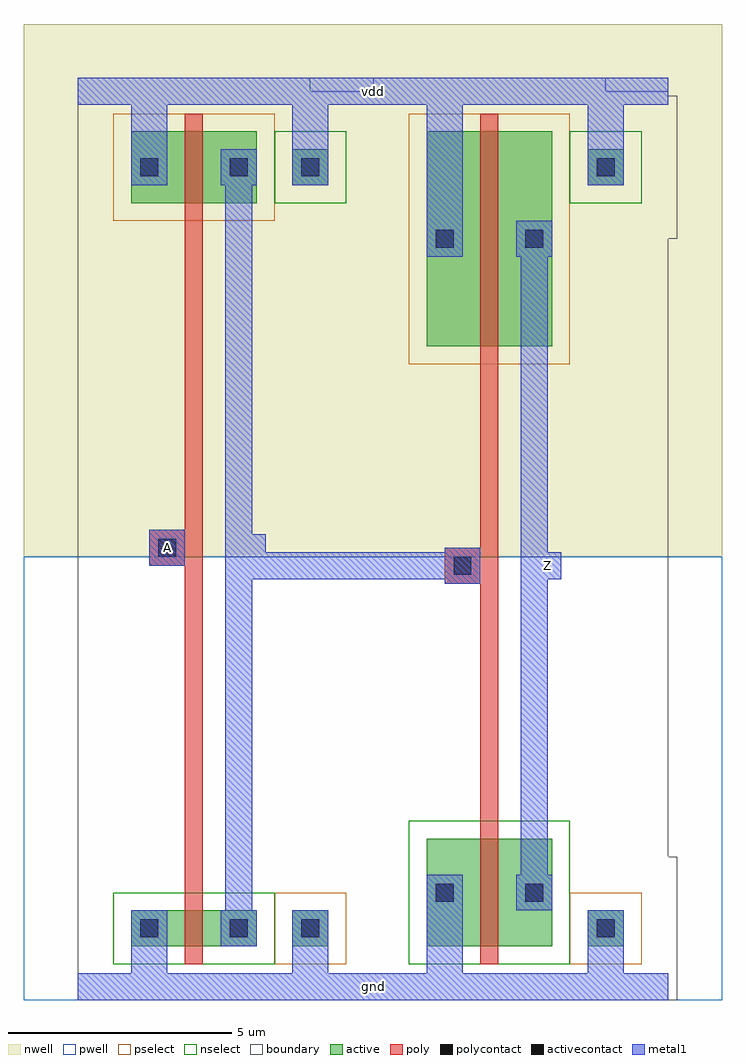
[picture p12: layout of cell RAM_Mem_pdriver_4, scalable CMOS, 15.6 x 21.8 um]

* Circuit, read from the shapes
.subckt RAM_Mem_pdriver_4 A Z gnd vdd
M1 RAM_Mem_pinv_6_1/A A gnd gnd nfet w=0.8u l=0.4u
M2 Z RAM_Mem_pinv_6_1/A gnd gnd nfet w=2.4u l=0.4u
M3 RAM_Mem_pinv_6_1/A A vdd vdd pfet w=1.6u l=0.4u
M4 Z RAM_Mem_pinv_6_1/A vdd vdd pfet w=4.8u l=0.4u
.ends

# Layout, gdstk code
import gdstk
lib = gdstk.Library(unit=1e-6, precision=1e-09)
def R(c, l, rs):  # rectangles x0, y0, x1, y1
    for r in rs: c.add(gdstk.rectangle(r[:2], r[2:], *l))
pwell = (41, 0)
nwell = (42, 0)
active = (43, 0)
pselect = (44, 0)
nselect = (45, 0)
poly = (46, 0)
polycontact = (47, 0)
activecontact = (48, 0)
metal1 = (49, 0)
boundary = (63, 0)

ram_mem_contact_12 = lib.new_cell('RAM_Mem_contact_12')
R(ram_mem_contact_12, nwell, [(-1.2,-1.2,2,2)])
R(ram_mem_contact_12, active, [(0,0,0.8,0.8)])
R(ram_mem_contact_12, pselect, [(-0.4,-0.4,1.2,1.2)])
R(ram_mem_contact_12, activecontact, [(0.2,0.2,0.6,0.6)])
R(ram_mem_contact_12, metal1, [(0,0,0.8,0.8)])
R(ram_mem_contact_12, boundary, [(-1.2,-1.2,2,2)])

ram_mem_pmos_m1_w1_600_s = lib.new_cell('RAM_Mem_pmos_m1_w1_600_sm1_dm1_da_p')
R(ram_mem_pmos_m1_w1_600_s, nwell, [(-1.2,-1.2,4,2.8)])
R(ram_mem_pmos_m1_w1_600_s, active, [(0,0,2.8,1.6)])
R(ram_mem_pmos_m1_w1_600_s, pselect, [(-0.4,-0.4,3.2,2)])
R(ram_mem_pmos_m1_w1_600_s, poly, [(1.2,-0.4,1.6,2), (1.2,-0.4,1.6,2)])
R(ram_mem_pmos_m1_w1_600_s, metal1, [(0,0.4,0.8,1.2), (2,0.4,2.8,1.2)])
R(ram_mem_pmos_m1_w1_600_s, boundary, [(-1.2,-1.2,4,2.8)])
ram_mem_pmos_m1_w1_600_s.add(gdstk.Reference(ram_mem_contact_12, (0,0.4)))
ram_mem_pmos_m1_w1_600_s.add(gdstk.Reference(ram_mem_contact_12, (2,0.4)))
ram_mem_pmos_m1_w1_600_s.add(gdstk.Label('G', (1.4,0.8), layer=46, texttype=0))
ram_mem_pmos_m1_w1_600_s.add(gdstk.Label('S', (0.4,0.8), layer=49, texttype=0))
ram_mem_pmos_m1_w1_600_s.add(gdstk.Label('D', (2.4,0.8), layer=49, texttype=0))

ram_mem_contact_11 = lib.new_cell('RAM_Mem_contact_11')
R(ram_mem_contact_11, pwell, [(-1.2,-1.2,2,2)])
R(ram_mem_contact_11, active, [(0,0,0.8,0.8)])
R(ram_mem_contact_11, nselect, [(-0.4,-0.4,1.2,1.2)])
R(ram_mem_contact_11, activecontact, [(0.2,0.2,0.6,0.6)])
R(ram_mem_contact_11, metal1, [(0,0,0.8,0.8)])
R(ram_mem_contact_11, boundary, [(-1.2,-1.2,2,2)])

ram_mem_nmos_m1_w0_800_s = lib.new_cell('RAM_Mem_nmos_m1_w0_800_sm1_dm1_da_p')
R(ram_mem_nmos_m1_w0_800_s, pwell, [(-1.2,-1.2,4,2)])
R(ram_mem_nmos_m1_w0_800_s, active, [(0,0,2.8,0.8)])
R(ram_mem_nmos_m1_w0_800_s, nselect, [(-0.4,-0.4,3.2,1.2)])
R(ram_mem_nmos_m1_w0_800_s, poly, [(1.2,-0.4,1.6,1.2), (1.2,-0.4,1.6,1.2)])
R(ram_mem_nmos_m1_w0_800_s, metal1, [(0,0,0.8,0.8), (2,0,2.8,0.8)])
R(ram_mem_nmos_m1_w0_800_s, boundary, [(-1.2,-1.2,4,2)])
ram_mem_nmos_m1_w0_800_s.add(gdstk.Reference(ram_mem_contact_11, (0,0)))
ram_mem_nmos_m1_w0_800_s.add(gdstk.Reference(ram_mem_contact_11, (2,0)))
ram_mem_nmos_m1_w0_800_s.add(gdstk.Label('G', (1.4,0.4), layer=46, texttype=0))
ram_mem_nmos_m1_w0_800_s.add(gdstk.Label('S', (0.4,0.4), layer=49, texttype=0))
ram_mem_nmos_m1_w0_800_s.add(gdstk.Label('D', (2.4,0.4), layer=49, texttype=0))

ram_mem_contact_13 = lib.new_cell('RAM_Mem_contact_13')
R(ram_mem_contact_13, nwell, [(-1.2,-1.2,2,2)])
R(ram_mem_contact_13, active, [(0,0,0.8,0.8)])
R(ram_mem_contact_13, nselect, [(-0.4,-0.4,1.2,1.2)])
R(ram_mem_contact_13, activecontact, [(0.2,0.2,0.6,0.6)])
R(ram_mem_contact_13, metal1, [(0,0,0.8,0.8)])
R(ram_mem_contact_13, boundary, [(-1.2,-1.2,2,2)])

ram_mem_contact_14 = lib.new_cell('RAM_Mem_contact_14')
R(ram_mem_contact_14, pwell, [(-1.2,-1.2,2,2)])
R(ram_mem_contact_14, active, [(0,0,0.8,0.8)])
R(ram_mem_contact_14, pselect, [(-0.4,-0.4,1.2,1.2)])
R(ram_mem_contact_14, activecontact, [(0.2,0.2,0.6,0.6)])
R(ram_mem_contact_14, metal1, [(0,0,0.8,0.8)])
R(ram_mem_contact_14, boundary, [(-1.2,-1.2,2,2)])

ram_mem_contact_15 = lib.new_cell('RAM_Mem_contact_15')
R(ram_mem_contact_15, poly, [(0,0,0.8,0.8)])
R(ram_mem_contact_15, polycontact, [(0.2,0.2,0.6,0.6)])
R(ram_mem_contact_15, metal1, [(0,0,0.8,0.8)])
R(ram_mem_contact_15, boundary, [(0,0,0.8,0.8)])

ram_mem_pinv_5 = lib.new_cell('RAM_Mem_pinv_5')
R(ram_mem_pinv_5, pwell, [(-1.2,-0.3,7.8,9.6)])
R(ram_mem_pinv_5, nwell, [(-1.2,9.6,7.8,21.5)])
R(ram_mem_pinv_5, poly, [(2.4,2.1,2.8,17.1), (2,9.4,2.4,10.2)])
R(ram_mem_pinv_5, metal1, [(0,-0.3,6.6,0.3), (1.2,-0.3,2,0.9), (4.8,0,5.6,1.3), (3.3,0.9,3.9,18.7), (1.6,9.4,2.4,10.2), (3.6,9.5,4.2,10.1), (1.2,17.9,2,20.3), (4.8,18.3,5.6,20), (0,19.7,6.6,20.3)])
R(ram_mem_pinv_5, boundary, [(0,0,6.6,20), (0,0,6.6,20)])
ram_mem_pinv_5.add(gdstk.Reference(ram_mem_pmos_m1_w1_600_s, (1.2,17.5)))
ram_mem_pinv_5.add(gdstk.Reference(ram_mem_nmos_m1_w0_800_s, (1.2,0.9)))
ram_mem_pinv_5.add(gdstk.Reference(ram_mem_contact_13, (4.8,17.9)))
ram_mem_pinv_5.add(gdstk.Reference(ram_mem_contact_14, (4.8,0.9)))
ram_mem_pinv_5.add(gdstk.Reference(ram_mem_contact_15, (1.6,9.4)))
ram_mem_pinv_5.add(gdstk.Label('A', (2,9.8), layer=49, texttype=0))
ram_mem_pinv_5.add(gdstk.Label('Z', (3.9,9.8), layer=49, texttype=0))
ram_mem_pinv_5.add(gdstk.Label('gnd', (3.3,0), layer=49, texttype=0))
ram_mem_pinv_5.add(gdstk.Label('vdd', (3.3,20), layer=49, texttype=0))

ram_mem_pmos_m1_w4_800_s = lib.new_cell('RAM_Mem_pmos_m1_w4_800_sm1_dm1_da_p')
R(ram_mem_pmos_m1_w4_800_s, nwell, [(-1.2,-1.2,4,6)])
R(ram_mem_pmos_m1_w4_800_s, active, [(0,0,2.8,4.8)])
R(ram_mem_pmos_m1_w4_800_s, pselect, [(-0.4,-0.4,3.2,5.2)])
R(ram_mem_pmos_m1_w4_800_s, poly, [(1.2,-0.4,1.6,5.2), (1.2,-0.4,1.6,5.2)])
R(ram_mem_pmos_m1_w4_800_s, metal1, [(0,2,0.8,2.8), (2,2,2.8,2.8)])
R(ram_mem_pmos_m1_w4_800_s, boundary, [(-1.2,-1.2,4,6)])
ram_mem_pmos_m1_w4_800_s.add(gdstk.Reference(ram_mem_contact_12, (0,2)))
ram_mem_pmos_m1_w4_800_s.add(gdstk.Reference(ram_mem_contact_12, (2,2)))
ram_mem_pmos_m1_w4_800_s.add(gdstk.Label('G', (1.4,2.4), layer=46, texttype=0))
ram_mem_pmos_m1_w4_800_s.add(gdstk.Label('S', (0.4,2.4), layer=49, texttype=0))
ram_mem_pmos_m1_w4_800_s.add(gdstk.Label('D', (2.4,2.4), layer=49, texttype=0))

ram_mem_nmos_m1_w2_400_s = lib.new_cell('RAM_Mem_nmos_m1_w2_400_sm1_dm1_da_p')
R(ram_mem_nmos_m1_w2_400_s, pwell, [(-1.2,-1.2,4,3.6)])
R(ram_mem_nmos_m1_w2_400_s, active, [(0,0,2.8,2.4)])
R(ram_mem_nmos_m1_w2_400_s, nselect, [(-0.4,-0.4,3.2,2.8)])
R(ram_mem_nmos_m1_w2_400_s, poly, [(1.2,-0.4,1.6,2.8), (1.2,-0.4,1.6,2.8)])
R(ram_mem_nmos_m1_w2_400_s, metal1, [(0,0.8,0.8,1.6), (2,0.8,2.8,1.6)])
R(ram_mem_nmos_m1_w2_400_s, boundary, [(-1.2,-1.2,4,3.6)])
ram_mem_nmos_m1_w2_400_s.add(gdstk.Reference(ram_mem_contact_11, (0,0.8)))
ram_mem_nmos_m1_w2_400_s.add(gdstk.Reference(ram_mem_contact_11, (2,0.8)))
ram_mem_nmos_m1_w2_400_s.add(gdstk.Label('G', (1.4,1.2), layer=46, texttype=0))
ram_mem_nmos_m1_w2_400_s.add(gdstk.Label('S', (0.4,1.2), layer=49, texttype=0))
ram_mem_nmos_m1_w2_400_s.add(gdstk.Label('D', (2.4,1.2), layer=49, texttype=0))

ram_mem_pinv_6 = lib.new_cell('RAM_Mem_pinv_6')
R(ram_mem_pinv_6, pwell, [(-1.2,-0.3,7.8,9.6)])
R(ram_mem_pinv_6, nwell, [(-1.2,9.6,7.8,21.5)])
R(ram_mem_pinv_6, poly, [(2.4,3.7,2.8,13.9), (2,9,2.4,9.8)])
R(ram_mem_pinv_6, metal1, [(0,-0.3,6.6,0.3), (1.2,-0.3,2,1.7), (4.8,0,5.6,1.3), (3.3,1.7,3.9,17.1), (1.6,9,2.4,9.8), (3.6,9.1,4.2,9.7), (1.2,16.3,2,20.3), (4.8,18.3,5.6,20), (0,19.7,6.6,20.3)])
R(ram_mem_pinv_6, boundary, [(0,0,6.6,20), (0,0,6.6,20)])
ram_mem_pinv_6.add(gdstk.Reference(ram_mem_pmos_m1_w4_800_s, (1.2,14.3)))
ram_mem_pinv_6.add(gdstk.Reference(ram_mem_nmos_m1_w2_400_s, (1.2,0.9)))
ram_mem_pinv_6.add(gdstk.Reference(ram_mem_contact_13, (4.8,17.9)))
ram_mem_pinv_6.add(gdstk.Reference(ram_mem_contact_14, (4.8,0.9)))
ram_mem_pinv_6.add(gdstk.Reference(ram_mem_contact_15, (1.6,9)))
ram_mem_pinv_6.add(gdstk.Label('A', (2,9.4), layer=49, texttype=0))
ram_mem_pinv_6.add(gdstk.Label('Z', (3.9,9.4), layer=49, texttype=0))
ram_mem_pinv_6.add(gdstk.Label('gnd', (3.3,0), layer=49, texttype=0))
ram_mem_pinv_6.add(gdstk.Label('vdd', (3.3,20), layer=49, texttype=0))

ram_mem_pdriver_4 = lib.new_cell('RAM_Mem_pdriver_4')
R(ram_mem_pdriver_4, pwell, [(-1.2,-0.3,14.4,9.6)])
R(ram_mem_pdriver_4, nwell, [(-1.2,9.6,14.4,21.5)])
R(ram_mem_pdriver_4, metal1, [(0,-0.3,13.2,0.3), (3.6,9.1,4.2,9.7), (3.9,9.1,8.6,9.7), (10.2,9.1,10.8,9.7), (1.6,9.4,2.4,10.2), (3.6,9.4,4.2,9.8), (0,19.7,13.2,20.3)])
R(ram_mem_pdriver_4, boundary, [(0,0,13.2,20), (0,0,13.2,20)])
ram_mem_pdriver_4.add(gdstk.Reference(ram_mem_pinv_5, (0,0)))
ram_mem_pdriver_4.add(gdstk.Reference(ram_mem_pinv_6, (6.6,0)))
ram_mem_pdriver_4.add(gdstk.Label('Z', (10.5,9.4), layer=49, texttype=0))
ram_mem_pdriver_4.add(gdstk.Label('A', (2,9.8), layer=49, texttype=0))
ram_mem_pdriver_4.add(gdstk.Label('gnd', (6.6,0), layer=49, texttype=0))
ram_mem_pdriver_4.add(gdstk.Label('vdd', (6.6,20), layer=49, texttype=0))

lib.write_gds('RAM_Mem_pdriver_4.gds')
